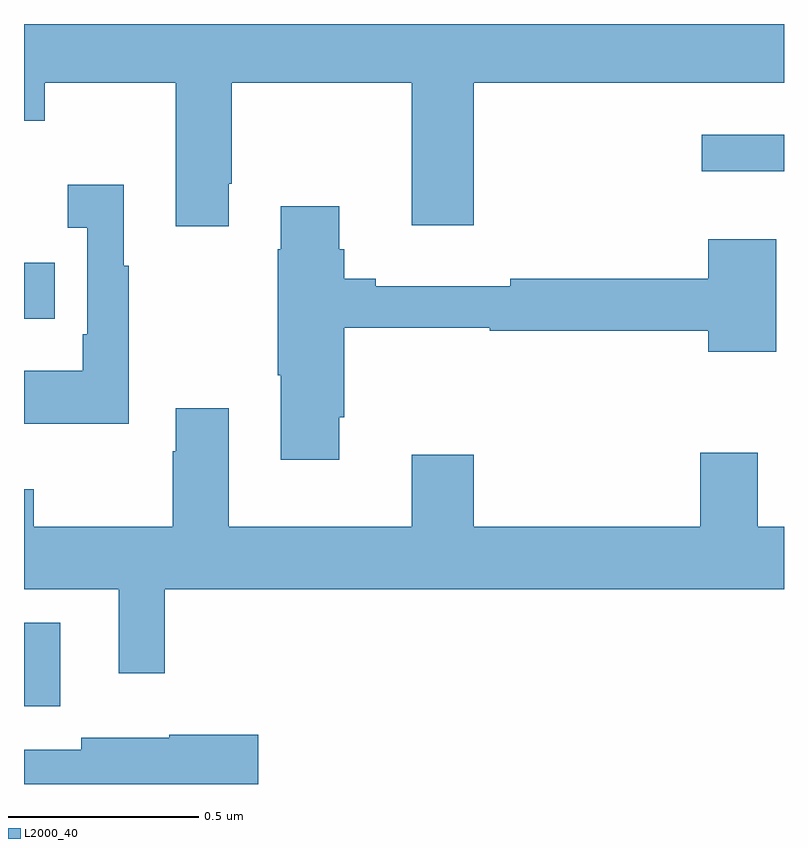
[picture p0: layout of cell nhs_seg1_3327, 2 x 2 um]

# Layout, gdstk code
import gdstk
lib = gdstk.Library(unit=1e-6, precision=1e-09)
def R(c, l, rs):  # rectangles x0, y0, x1, y1
    for r in rs: c.add(gdstk.rectangle(r[:2], r[2:], *l))
def P(c, l, *ps):  # polygons
    for p in ps: c.add(gdstk.Polygon(p, *l))
L2000_40 = (2000, 40)

nhs_seg1_3327 = lib.new_cell('nhs_seg1_3327')
R(nhs_seg1_3327, L2000_40, [(152,571.403,152.095,571.624), (152,572.423,152.081,572.571), (153.783,572.811,154,572.908)])
P(nhs_seg1_3327, L2000_40, [(152.539,572.779),(152.547,572.779),(152.547,573.044),(153.02,573.044),(153.02,572.67),(153.184,572.67),(153.184,573.044),(154,573.044),(154,573.199),(152,573.199),(152,572.945),(152.055,572.945),(152.055,573.044),(152.399,573.044),(152.399,572.667),(152.539,572.667)],
  [(152.275,572.563),(152.263,572.563),(152.263,572.776),(152.115,572.776),(152.115,572.663),(152.166,572.663),(152.166,572.383),(152.154,572.383),(152.154,572.287),(152,572.287),(152,572.147),(152.275,572.147)],
  [(152.83,572.164),(152.843,572.164),(152.843,572.4),(153.226,572.4),(153.226,572.392),(153.8,572.392),(153.8,572.336),(153.979,572.336),(153.979,572.632),(153.8,572.632),(153.8,572.528),(153.28,572.528),(153.28,572.509),(152.926,572.509),(152.926,572.528),(152.843,572.528),(152.843,572.606),(152.83,572.606),(152.83,572.719),(152.675,572.719),(152.675,572.606),(152.668,572.606),(152.668,572.275),(152.675,572.275),(152.675,572.052),(152.83,572.052)],
  [(152.371,571.712),(154,571.712),(154,571.876),(153.931,571.876),(153.931,572.071),(153.779,572.071),(153.779,571.876),(153.184,571.876),(153.184,572.065),(153.02,572.065),(153.02,571.876),(152.539,571.876),(152.539,572.188),(152.399,572.188),(152.399,572.075),(152.392,572.075),(152.392,571.876),(152.025,571.876),(152.025,571.975),(152,571.975),(152,571.712),(152.249,571.712),(152.249,571.491),(152.371,571.491)],
  [(152.617,571.329),(152.382,571.329),(152.382,571.321),(152.15,571.321),(152.15,571.289),(152,571.289),(152,571.199),(152.617,571.199)])

lib.write_gds('nhs_seg1_3327.gds')
